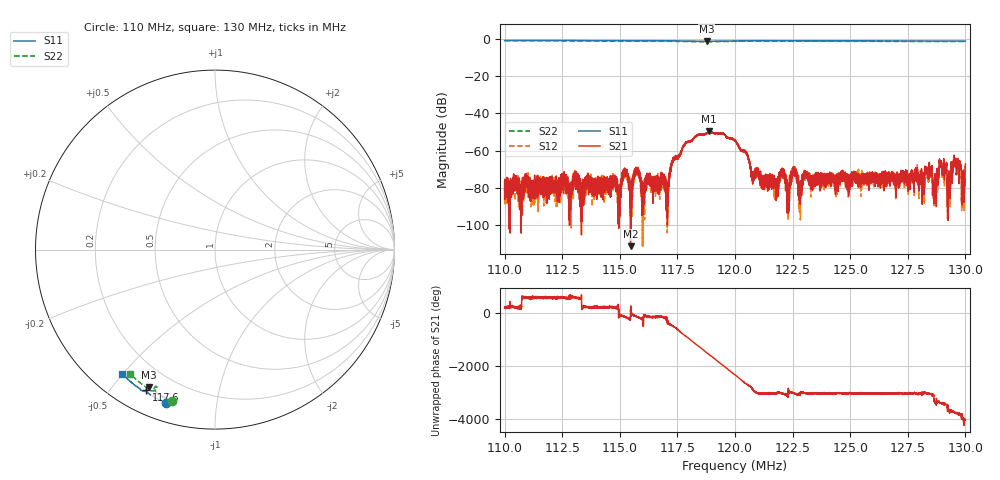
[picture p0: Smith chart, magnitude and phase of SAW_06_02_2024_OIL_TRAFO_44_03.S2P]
!Agilent Technologies,E5071C,MY46520923,B.12.03
!Date: Tue Feb 06 10:06:24 2024
!Data & Calibration Information:
!Freq	S11:SOLT2(ON)	S21:SOLT2(ON)	S12:SOLT2(ON)	S22:SOLT2(ON)
!PortZ  Port1:50+j0  Port2:50+j0
!Above PortZ is port z conversion or system Z0 setting when saving the data.
!When reading, reference impedance value at option line is always used.
# Hz S dB R 50
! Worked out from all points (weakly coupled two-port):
!   10000 points, 110 MHz to 130 MHz, reference 50 ohm
!   highest |S21| = -49.58 dB at 118.9 MHz (marker M1); lowest = -111.2 dB at 115.5 MHz (marker M2)
!   lowest |S11| = -1.4 dB at 118.8 MHz (marker M3), VSWR 12.37, Z = 5.62 - j31.1 ohm
!   |S11| at or under -10 dB: nowhere
!   |S22| runs from -1.6 to -1.1 dB; largest |S21 - S12| = 0.0002
!   S11 on the Smith chart (normalised r, x): 110 MHz: 0.08, -0.73; 117.6 MHz: 0.10, -0.62; 130 MHz: 0.09, -0.50
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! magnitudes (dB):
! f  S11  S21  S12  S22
! 110 MHz  -0.9  -86.2  -81.8  -1.1
! 113.3 MHz  -1.0  -105.2  -81.7  -1.2
! 115 MHz  -1.0  -88.1  -89.3  -1.3
! 115.2 MHz  -1.0  -71.7  -71.4  -1.3
! 115.5 MHz  -1.1  -111.2  -83.6  -1.3
! 115.7 MHz  -1.1  -70.0  -70.9  -1.3
! 116 MHz  -1.1  -82.2  -80.8  -1.3
! 116.7 MHz  -1.1  -77.1  -74.9  -1.3
! 117 MHz  -1.1  -86.1  -84.9  -1.3
! 117.6 MHz  -1.2  -62.6  -63.0  -1.4
! 118.8 MHz  -1.4  -50.5  -50.7  -1.6
! 118.9 MHz  -1.4  -49.6  -49.9  -1.6
! 120 MHz  -1.2  -54.7  -54.5  -1.4
! 121.2 MHz  -1.1  -76.3  -75.8  -1.3
! 123.3 MHz  -1.1  -75.3  -76.8  -1.4
! 126.7 MHz  -1.2  -71.5  -71.9  -1.4
! 128.5 MHz  -1.2  -71.4  -73.3  -1.5
! 128.7 MHz  -1.2  -81.6  -75.8  -1.5
! 129 MHz  -1.2  -67.9  -67.7  -1.5
! 129.3 MHz  -1.3  -72.2  -71.6  -1.5
! 129.6 MHz  -1.3  -65.8  -66.4  -1.5
! 130 MHz  -1.3  -67.2  -68.2  -1.5
